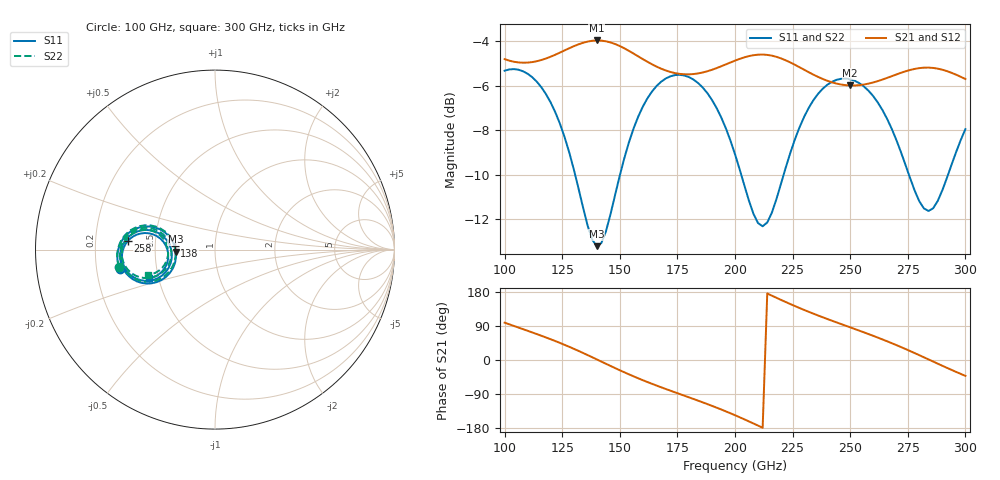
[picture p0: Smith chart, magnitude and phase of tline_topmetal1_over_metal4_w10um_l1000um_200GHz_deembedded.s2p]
! Created with skrf 2.0.1 (http://scikit-rf.org).
# GHz S DB R 50.0
!freq dBS11 angS11 dBS21 angS21 dBS12 angS12 dBS22 angS22
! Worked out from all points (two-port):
!   101 points, 100 GHz to 300 GHz, reference 50 ohm
!   highest |S21| = -3.96 dB at 140 GHz (marker M1); lowest = -6.0 dB at 250 GHz (marker M2)
!   |S21| within 3 dB of the highest: start of sweep to end of sweep
!   lowest |S11| = -13.2 dB at 140 GHz (marker M3), VSWR 1.56, Z = 32.1 - j0.8 ohm
!   |S11| at or under -10 dB: 130.6 GHz to 150.1 GHz (19.52 GHz wide, 13.9 % of centre); 202.7 GHz to 221.1 GHz (18.46 GHz wide, 8.71 % of centre); 275.5 GHz to 292.5 GHz (17.02 GHz wide, 5.99 % of centre)
!   |S22| runs from -13.2 to -5.2 dB; largest |S21 - S12| = 6.8e-14
!   S11 on the Smith chart (normalised r, x): 100 GHz: 0.30, -0.09; 138 GHz: 0.63, +0.03; 258 GHz: 0.34, +0.04; 300 GHz: 0.44, -0.17
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100  -5.32 -168.7  -4.80 98.5  -4.80 98.5  -5.32 -169.5
110  -5.46 177.7  -4.96 77.1  -4.96 77.1  -5.46 176.8
120  -6.75 165.5  -4.69 54.7  -4.69 54.7  -6.75 164.6
134  -11.46 163.8  -4.07 18.7  -4.07 18.7  -11.42 162.8
138  -12.93 175.0  -3.97 7.4  -3.97 7.4  -12.86 173.9
140  -13.23 -176.9  -3.96 1.6  -3.96 1.6  -13.15 -178.2
146  -11.77 -155.8  -4.05 -15.8  -4.05 -15.8  -11.72 -157.4
154  -8.54 -150.9  -4.43 -37.9  -4.43 -37.9  -8.52 -152.5
168  -5.81 -165.0  -5.23 -72.1  -5.23 -72.1  -5.81 -166.7
182  -5.72 177.7  -5.47 -102.9  -5.47 -102.9  -5.72 176.0
192  -7.00 167.1  -5.20 -125.7  -5.20 -125.7  -6.99 165.3
200  -9.08 163.2  -4.87 -145.7  -4.87 -145.7  -9.07 161.4
212  -12.33 -174.8  -4.59 -178.8  -4.59 -178.8  -12.29 -176.8
224  -9.03 -153.4  -4.95 147.7  -4.95 147.7  -9.02 -155.7
234  -6.65 -159.4  -5.50 122.4  -5.50 122.4  -6.65 -161.8
250  -5.71 -177.1  -5.99 86.2  -5.99 86.2  -5.71 -179.6
258  -6.23 174.3  -5.90 68.3  -5.90 68.3  -6.24 171.8
268  -7.93 166.7  -5.57 44.5  -5.57 44.5  -7.94 164.0
276  -10.16 168.6  -5.29 23.7  -5.29 23.7  -10.17 165.9
284  -11.64 -174.7  -5.18 1.5  -5.18 1.5  -11.66 -177.5
292  -10.14 -158.2  -5.34 -20.7  -5.34 -20.7  -10.16 -161.0
300  -7.95 -156.5  -5.70 -41.9  -5.70 -41.9  -7.97 -159.4
